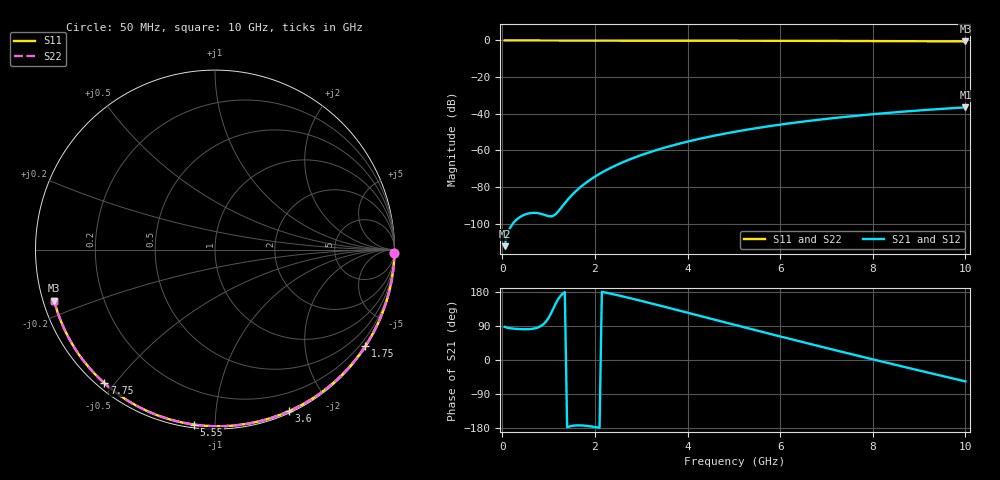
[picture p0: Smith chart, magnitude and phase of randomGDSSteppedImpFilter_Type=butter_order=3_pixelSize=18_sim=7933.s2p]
! freq	dB(S11)	phase(S11)	dB(S12)	phase(S12)
!  dB(S21)	phase(S21)	dB(S22)	phase(S22)
!S-par simulation data
#  GHz  S  DB  R 50
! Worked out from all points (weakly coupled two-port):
!   200 points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, 50 MHz to 10 GHz, reference 50 ohm
!   highest |S21| = -36.50 dB at 10 GHz (marker M1); lowest = -112.2 dB at 50 MHz (marker M2)
!   lowest |S11| = -0.5 dB at 10 GHz (marker M3), VSWR 32.35, Z = 1.58 - j7.76 ohm
!   |S11| at or under -10 dB: nowhere
!   |S22| runs from -0.5 to 0.0 dB; largest |S21 - S12| = 0
!   S11 on the Smith chart (normalised r, x): 50 MHz: open; 1.75 GHz: 0.03, -3.40; 3.6 GHz: 0.02, -1.56; 5.55 GHz: 0.02, -0.89; 7.75 GHz: 0.02, -0.47; 10 GHz: 0.03, -0.16
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0.05  -0.00 -1.0  -112.19 87.4  -112.19 87.4  -0.00 -1.0
0.45  -0.01 -8.6  -95.35 81.2  -95.35 81.2  -0.01 -8.6
0.85  -0.02 -16.1  -94.65 90.9  -94.65 90.9  -0.02 -16.1
1.65  -0.04 -30.9  -80.80 -172.4  -80.80 -172.4  -0.04 -30.9
1.7  -0.04 -31.8  -79.73 -172.6  -79.73 -172.6  -0.04 -31.8
1.75  -0.04 -32.7  -78.71 -173.0  -78.71 -173.0  -0.04 -32.7
1.9  -0.05 -35.5  -75.93 -175.0  -75.93 -175.0  -0.05 -35.5
2.05  -0.05 -38.2  -73.50 -177.9  -73.50 -177.9  -0.05 -38.2
2.25  -0.05 -41.8  -70.65 177.4  -70.65 177.4  -0.05 -41.8
2.45  -0.06 -45.4  -68.15 172.1  -68.15 172.1  -0.06 -45.4
2.9  -0.07 -53.3  -63.44 159.0  -63.44 159.0  -0.07 -53.3
3.4  -0.08 -62.0  -59.24 143.7  -59.24 143.7  -0.08 -62.0
3.6  -0.09 -65.4  -57.79 137.5  -57.79 137.5  -0.09 -65.4
4.3  -0.11 -77.0  -53.42 115.4  -53.42 115.4  -0.11 -77.0
5.05  -0.14 -89.1  -49.68 91.8  -49.68 91.8  -0.14 -89.1
5.55  -0.16 -96.9  -47.58 76.1  -47.58 76.1  -0.16 -96.9
6.1  -0.19 -105.3  -45.56 59.1  -45.56 59.1  -0.19 -105.3
6.7  -0.22 -114.3  -43.63 40.7  -43.63 40.7  -0.22 -114.3
7.75  -0.30 -129.7  -40.81 9.1  -40.81 9.1  -0.30 -129.7
8.35  -0.35 -138.3  -39.46 -8.7  -39.46 -8.7  -0.35 -138.3
9.2  -0.44 -150.6  -37.80 -33.4  -37.80 -33.4  -0.44 -150.6
10  -0.54 -162.3  -36.50 -56.5  -36.50 -56.5  -0.54 -162.3
